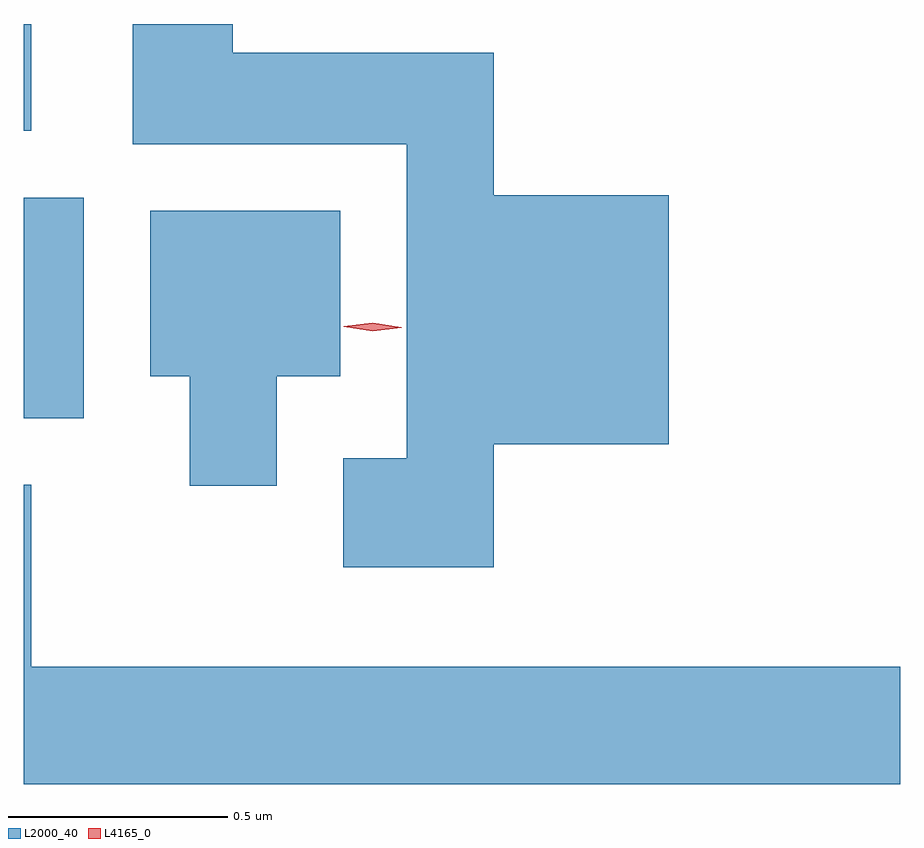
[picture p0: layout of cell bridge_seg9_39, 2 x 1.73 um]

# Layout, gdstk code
import gdstk
lib = gdstk.Library(unit=1e-6, precision=1e-09)
def R(c, l, rs):  # rectangles x0, y0, x1, y1
    for r in rs: c.add(gdstk.rectangle(r[:2], r[2:], *l))
def P(c, l, *ps):  # polygons
    for p in ps: c.add(gdstk.Polygon(p, *l))
L2000_40 = (2000, 40)
L4165_0 = (4165, 0)

bridge_seg9_39 = lib.new_cell('bridge_seg9_39')
R(bridge_seg9_39, L2000_40, [(1687.762,2032.611,1687.899,2033.114), (1687.762,2033.266,1687.779,2033.51)])
P(bridge_seg9_39, L2000_40, [(1688.834,2032.551),(1689.234,2032.551),(1689.234,2033.119),(1688.834,2033.119),(1688.834,2033.444),(1688.239,2033.444),(1688.239,2033.51),(1688.011,2033.51),(1688.011,2033.236),(1688.636,2033.236),(1688.636,2032.519),(1688.491,2032.519),(1688.491,2032.271),(1688.834,2032.271)],
  [(1688.339,2032.706),(1688.484,2032.706),(1688.484,2033.084),(1688.051,2033.084),(1688.051,2032.706),(1688.141,2032.706),(1688.141,2032.456),(1688.339,2032.456)],
  [(1689.762,2032.044),(1687.779,2032.044),(1687.779,2032.459),(1687.762,2032.459),(1687.762,2031.776),(1689.762,2031.776)])
P(bridge_seg9_39, L4165_0, [(1688.558,2032.809),(1688.492,2032.819),(1688.492,2032.82),(1688.492,2032.82),(1688.558,2032.828),(1688.623,2032.818),(1688.624,2032.817),(1688.623,2032.817)])

lib.write_gds('bridge_seg9_39.gds')
